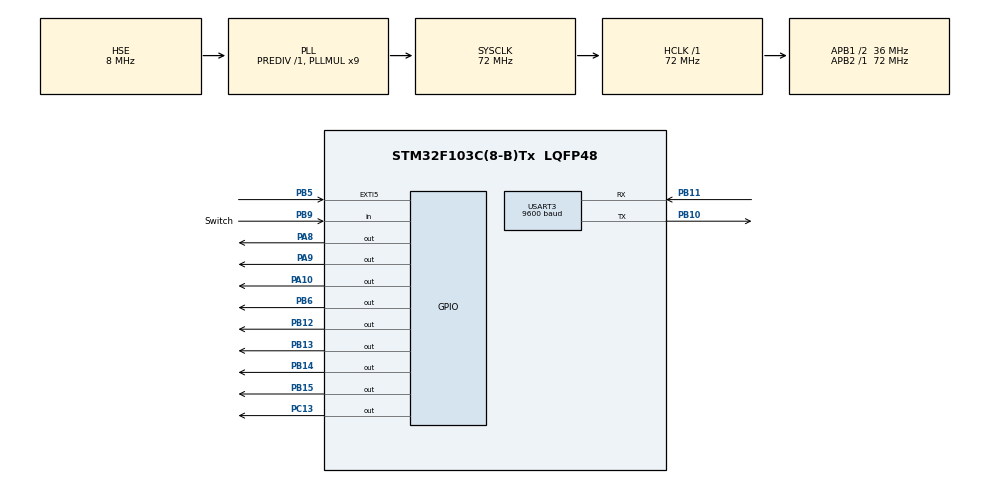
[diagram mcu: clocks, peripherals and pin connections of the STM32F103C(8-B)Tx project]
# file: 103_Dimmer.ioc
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FREERTOS.Tasks01=defaultTask,0,128,StartDefaultTask,Default,NULL,Dynamic,NULL,NULL
Mcu.Family=STM32F1
Mcu.Name=STM32F103C(8-B)Tx
Mcu.Package=LQFP48
NVIC.PriorityGroup=NVIC_PRIORITYGROUP_4
NVIC.TIM2_IRQn=true\:5\:0\:false\:false\:true\:true\:true\:true\:true
PA10.Signal=GPIO_Output
PA13.Mode=Serial_Wire
PA13.Signal=SYS_JTMS-SWDIO
PA14.Mode=Serial_Wire
PA14.Signal=SYS_JTCK-SWCLK
PA8.Signal=GPIO_Output
PA9.Signal=GPIO_Output
PB10.Mode=Asynchronous
PB10.Signal=USART3_TX
PB11.Mode=Asynchronous
PB11.Signal=USART3_RX
PB12.Signal=GPIO_Output
PB13.Signal=GPIO_Output
PB14.Signal=GPIO_Output
PB15.Signal=GPIO_Output
PB5.Signal=GPXTI5
PB6.Signal=GPIO_Output
PB9.GPIO_Label=Switch
PB9.Signal=GPIO_Input
PC13-TAMPER-RTC.Signal=GPIO_Output
PD0-OSC_IN.Mode=HSE-External-Oscillator
PD0-OSC_IN.Signal=RCC_OSC_IN
PD1-OSC_OUT.Mode=HSE-External-Oscillator
PD1-OSC_OUT.Signal=RCC_OSC_OUT
ProjectManager.HeapSize=0x200
ProjectManager.StackSize=0x400
ProjectManager.TargetToolchain=STM32CubeIDE
RCC.AHBFreq_Value=72000000
RCC.APB1CLKDivider=RCC_HCLK_DIV2
RCC.APB1Freq_Value=36000000
RCC.APB1TimFreq_Value=72000000
RCC.APB2Freq_Value=72000000
RCC.APB2TimFreq_Value=72000000
RCC.HCLKFreq_Value=72000000
RCC.PLLMUL=RCC_PLL_MUL9
RCC.PLLSourceVirtual=RCC_PLLSOURCE_HSE
RCC.SYSCLKFreq_VALUE=72000000
RCC.SYSCLKSource=RCC_SYSCLKSOURCE_PLLCLK
RCC.USBFreq_Value=72000000
TIM2.Channel-Output\ Compare1\ No\ Output=TIM_CHANNEL_1
TIM2.Channel-Output\ Compare2\ No\ Output=TIM_CHANNEL_2
TIM2.Prescaler=360-1
TIM2.Pulse-Output\ Compare1\ No\ Output=1000
TIM2.Pulse-Output\ Compare2\ No\ Output=1100
USART3.BaudRate=9600
USART3.VirtualMode=VM_ASYNC
VP_FREERTOS_VS_CMSIS_V1.Mode=CMSIS_V1
VP_TIM2_VS_ClockSourceINT.Mode=Internal
VP_TIM2_VS_no_output1.Mode=Output Compare1 No Output
VP_TIM2_VS_no_output2.Mode=Output Compare2 No Output
board=custom

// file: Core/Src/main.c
/* USER CODE BEGIN Header */
/**
  ******************************************************************************
  * @file           : main.c
  * @brief          : Main program body
  ******************************************************************************
  * @attention
  *
  * Copyright (c) 2023 STMicroelectronics.
  * All rights reserved.
  *
  * This software is licensed under terms that can be found in the LICENSE file
  * in the root directory of this software component.
  * If no LICENSE file comes with this software, it is provided AS-IS.
  *
  ******************************************************************************
  */
/* USER CODE END Header */
#include "main.h"
#include "cmsis_os.h"

/* USER CODE BEGIN Includes */
#include "stm32f1xx.h"
#include <stdio.h>
#include <string.h>
#include <stdlib.h>
#include "FreeRTOS.h"
#include "task.h"
#include "semphr.h"
/* USER CODE END Includes */

/* USER CODE BEGIN PTD */
// Pin definitions for dimmer signal and zero crossing signal

#define Dimmer_PIN GPIO_PIN_6
#define Dimmer_GPIO_Port GPIOB
#define Zero_Pin GPIO_PIN_5
#define Zero_GPIO_Port GPIOB
//#define RCC_APB2ENR_GPIOAEN  (1 << 0)

/* USER CODE END PTD */

TIM_HandleTypeDef htim2;

UART_HandleTypeDef huart3;

osThreadId defaultTaskHandle;
/* USER CODE BEGIN PV */
uint32_t Dimmer = 0;
char Flag = 0;
SemaphoreHandle_t xSemaphore1;
SemaphoreHandle_t xSemaphore2;
SemaphoreHandle_t xSemaphore3;
//GPIO_PinState pinState = GPIO_ReadInputDataBit(GPIOx, GPIO_Pin);
/* USER CODE END PV */

void SystemClock_Config(void);
static void MX_GPIO_Init(void);
static void MX_TIM2_Init(void);
static void MX_USART3_UART_Init(void);
void StartDefaultTask(void const * argument);

/* USER CODE BEGIN PFP */
/*
void dimmer_init(void);
void zc_init(void);
void setBrightnessLevel(uint16_t );
*/
void HAL_UART_Read_String(UART_HandleTypeDef *huart, char *str, uint8_t size);
void BT_RX(void *pvParameters);
void Set_Dimmer(void *pvParameters);
void Timer_CH(void *pvParameters);
/* USER CODE END PFP */

/* USER CODE BEGIN 0 */
char message_rx[20];
char message_tx[20];
/* USER CODE END 0 */

int main(void)
{
  /* USER CODE BEGIN 1 */
	//RCC->APB2ENR |= RCC_APB2ENR_GPIOAEN;
  /* USER CODE END 1 */

  /* MCU Configuration--------------------------------------------------------*/

  /* Reset of all peripherals, Initializes the Flash interface and the Systick. */
  HAL_Init();

  /* Configure the system clock */
  SystemClock_Config();

  /* Initialize all configured peripherals */
  MX_GPIO_Init();
  MX_TIM2_Init();
  MX_USART3_UART_Init();
  /* USER CODE BEGIN 2 */
  //dimmer_init();
  //zc_init();
  HAL_TIMEx_OCN_Start_IT(&htim2, HAL_TIM_ACTIVE_CHANNEL_1);
  HAL_TIMEx_OCN_Start_IT(&htim2, HAL_TIM_ACTIVE_CHANNEL_2);
  HAL_GPIO_WritePin(GPIOA, GPIO_PIN_10, 1);
  HAL_GPIO_WritePin(GPIOA, GPIO_PIN_9, 0);
  HAL_GPIO_WritePin(GPIOA, GPIO_PIN_8, 1);
  HAL_GPIO_WritePin(GPIOB, GPIO_PIN_12, 1);
  HAL_GPIO_WritePin(GPIOB, GPIO_PIN_13, 1);
  HAL_GPIO_WritePin(GPIOB, GPIO_PIN_14, 0);
  HAL_GPIO_WritePin(GPIOB, GPIO_PIN_15, 1);
  /* USER CODE END 2 */

  /* USER CODE BEGIN RTOS_SEMAPHORES */
  /* add semaphores, ... */
  xSemaphore1 = xSemaphoreCreateBinary();
  xSemaphore2 = xSemaphoreCreateBinary();
  xSemaphore3 = xSemaphoreCreateBinary();
  xSemaphoreGive(xSemaphore1);
  /* USER CODE END RTOS_SEMAPHORES */

  /* Create the thread(s) */
  /* definition and creation of defaultTask */
  osThreadDef(defaultTask, StartDefaultTask, osPriorityNormal, 0, 128);
  defaultTaskHandle = osThreadCreate(osThread(defaultTask), NULL);

  /* USER CODE BEGIN RTOS_THREADS */
  /* add threads, ... */
  xTaskCreate((void *)BT_RX, "BT_RX", configMINIMAL_STACK_SIZE, NULL, tskIDLE_PRIORITY + 1, NULL);
  xTaskCreate((void *)Set_Dimmer, "Set_Dimmer", configMINIMAL_STACK_SIZE, NULL, tskIDLE_PRIORITY + 1, NULL);
  xTaskCreate((void *)Timer_CH, "Timer_CH", configMINIMAL_STACK_SIZE, NULL, tskIDLE_PRIORITY + 1, NULL);
  vTaskStartScheduler();
  /* USER CODE END RTOS_THREADS */

  /* Start scheduler */
  osKernelStart();
  /* We should never get here as control is now taken by the scheduler */
  /* Infinite loop */
  while (1)
  {

  }
}

void SystemClock_Config(void)
{
  RCC_OscInitTypeDef RCC_OscInitStruct = {0};
  RCC_ClkInitTypeDef RCC_ClkInitStruct = {0};

  /** Initializes the RCC Oscillators according to the specified parameters
  * in the RCC_OscInitTypeDef structure.
  */
  RCC_OscInitStruct.OscillatorType = RCC_OSCILLATORTYPE_HSE;
  RCC_OscInitStruct.HSEState = RCC_HSE_ON;
  RCC_OscInitStruct.HSEPredivValue = RCC_HSE_PREDIV_DIV1;
  RCC_OscInitStruct.HSIState = RCC_HSI_ON;
  RCC_OscInitStruct.PLL.PLLState = RCC_PLL_ON;
  RCC_OscInitStruct.PLL.PLLSource = RCC_PLLSOURCE_HSE;
  RCC_OscInitStruct.PLL.PLLMUL = RCC_PLL_MUL9;
  if (HAL_RCC_OscConfig(&RCC_OscInitStruct) != HAL_OK)
  {
    Error_Handler();
  }

  /** Initializes the CPU, AHB and APB buses clocks
  */
  RCC_ClkInitStruct.ClockType = RCC_CLOCKTYPE_HCLK|RCC_CLOCKTYPE_SYSCLK
                              |RCC_CLOCKTYPE_PCLK1|RCC_CLOCKTYPE_PCLK2;
  RCC_ClkInitStruct.SYSCLKSource = RCC_SYSCLKSOURCE_PLLCLK;
  RCC_ClkInitStruct.AHBCLKDivider = RCC_SYSCLK_DIV1;
  RCC_ClkInitStruct.APB1CLKDivider = RCC_HCLK_DIV2;
  RCC_ClkInitStruct.APB2CLKDivider = RCC_HCLK_DIV1;

  if (HAL_RCC_ClockConfig(&RCC_ClkInitStruct, FLASH_LATENCY_2) != HAL_OK)
  {
    Error_Handler();
  }
}

static void MX_TIM2_Init(void)
{

  TIM_ClockConfigTypeDef sClockSourceConfig = {0};
  TIM_MasterConfigTypeDef sMasterConfig = {0};
  TIM_OC_InitTypeDef sConfigOC = {0};

  htim2.Instance = TIM2;
  htim2.Init.Prescaler = 360-1;
  htim2.Init.CounterMode = TIM_COUNTERMODE_UP;
  htim2.Init.Period = 65535;
  htim2.Init.ClockDivision = TIM_CLOCKDIVISION_DIV1;
  htim2.Init.AutoReloadPreload = TIM_AUTORELOAD_PRELOAD_DISABLE;
  if (HAL_TIM_Base_Init(&htim2) != HAL_OK)
  {
    Error_Handler();
  }
  sClockSourceConfig.ClockSource = TIM_CLOCKSOURCE_INTERNAL;
  if (HAL_TIM_ConfigClockSource(&htim2, &sClockSourceConfig) != HAL_OK)
  {
    Error_Handler();
  }
  if (HAL_TIM_OC_Init(&htim2) != HAL_OK)
  {
    Error_Handler();
  }
  sMasterConfig.MasterOutputTrigger = TIM_TRGO_RESET;
  sMasterConfig.MasterSlaveMode = TIM_MASTERSLAVEMODE_DISABLE;
  if (HAL_TIMEx_MasterConfigSynchronization(&htim2, &sMasterConfig) != HAL_OK)
  {
    Error_Handler();
  }
  sConfigOC.OCMode = TIM_OCMODE_TIMING;
  sConfigOC.Pulse = 1000;
  sConfigOC.OCPolarity = TIM_OCPOLARITY_HIGH;
  sConfigOC.OCFastMode = TIM_OCFAST_DISABLE;
  if (HAL_TIM_OC_ConfigChannel(&htim2, &sConfigOC, TIM_CHANNEL_1) != HAL_OK)
  {
    Error_Handler();
  }
  sConfigOC.Pulse = 1100;
  if (HAL_TIM_OC_ConfigChannel(&htim2, &sConfigOC, TIM_CHANNEL_2) != HAL_OK)
  {
    Error_Handler();
  }

}

static void MX_USART3_UART_Init(void)
{

  huart3.Instance = USART3;
  huart3.Init.BaudRate = 9600;
  huart3.Init.WordLength = UART_WORDLENGTH_8B;
  huart3.Init.StopBits = UART_STOPBITS_1;
  huart3.Init.Parity = UART_PARITY_NONE;
  huart3.Init.Mode = UART_MODE_TX_RX;
  huart3.Init.HwFlowCtl = UART_HWCONTROL_NONE;
  huart3.Init.OverSampling = UART_OVERSAMPLING_16;
  if (HAL_UART_Init(&huart3) != HAL_OK)
  {
    Error_Handler();
  }

}

static void MX_GPIO_Init(void)
{
  GPIO_InitTypeDef GPIO_InitStruct = {0};

  /* GPIO Ports Clock Enable */
  __HAL_RCC_GPIOC_CLK_ENABLE();
  __HAL_RCC_GPIOD_CLK_ENABLE();
  __HAL_RCC_GPIOB_CLK_ENABLE();
  __HAL_RCC_GPIOA_CLK_ENABLE();

  /*Configure GPIO pin Output Level */
  HAL_GPIO_WritePin(GPIOC, GPIO_PIN_13, GPIO_PIN_RESET);

  /*Configure GPIO pin Output Level */
  HAL_GPIO_WritePin(GPIOB, GPIO_PIN_12|GPIO_PIN_13|GPIO_PIN_14|GPIO_PIN_15
                          |GPIO_PIN_6, GPIO_PIN_RESET);

  /*Configure GPIO pin Output Level */
  HAL_GPIO_WritePin(GPIOA, GPIO_PIN_8|GPIO_PIN_9|GPIO_PIN_10, GPIO_PIN_RESET);

  /*Configure GPIO pin : PC13 */
  GPIO_InitStruct.Pin = GPIO_PIN_13;
  GPIO_InitStruct.Mode = GPIO_MODE_OUTPUT_PP;
  GPIO_InitStruct.Pull = GPIO_NOPULL;
  GPIO_InitStruct.Speed = GPIO_SPEED_FREQ_LOW;
  HAL_GPIO_Init(GPIOC, &GPIO_InitStruct);

  /*Configure GPIO pins : PB12 PB13 PB14 PB15
                           PB6 */
  GPIO_InitStruct.Pin = GPIO_PIN_12|GPIO_PIN_13|GPIO_PIN_14|GPIO_PIN_15
                          |GPIO_PIN_6;
  GPIO_InitStruct.Mode = GPIO_MODE_OUTPUT_PP;
  GPIO_InitStruct.Pull = GPIO_NOPULL;
  GPIO_InitStruct.Speed = GPIO_SPEED_FREQ_LOW;
  HAL_GPIO_Init(GPIOB, &GPIO_InitStruct);

  /*Configure GPIO pins : PA8 PA9 PA10 */
  GPIO_InitStruct.Pin = GPIO_PIN_8|GPIO_PIN_9|GPIO_PIN_10;
  GPIO_InitStruct.Mode = GPIO_MODE_OUTPUT_PP;
  GPIO_InitStruct.Pull = GPIO_NOPULL;
  GPIO_InitStruct.Speed = GPIO_SPEED_FREQ_LOW;
  HAL_GPIO_Init(GPIOA, &GPIO_InitStruct);

  /*Configure GPIO pin : PB5 */
  GPIO_InitStruct.Pin = GPIO_PIN_5;
  GPIO_InitStruct.Mode = GPIO_MODE_IT_RISING;
  GPIO_InitStruct.Pull = GPIO_NOPULL;
  HAL_GPIO_Init(GPIOB, &GPIO_InitStruct);

  /*Configure GPIO pin : Switch_Pin */
  GPIO_InitStruct.Pin = Switch_Pin;
  GPIO_InitStruct.Mode = GPIO_MODE_INPUT;
  GPIO_InitStruct.Pull = GPIO_NOPULL;
  HAL_GPIO_Init(Switch_GPIO_Port, &GPIO_InitStruct);

}

/* USER CODE BEGIN 4 */
void BT_RX(void *pvParameters) {
  while (1) {
	xSemaphoreTake(xSemaphore1, portMAX_DELAY);
	HAL_UART_Read_String(&huart3, message_rx, 20);
	sprintf(message_tx,"dimmer_R\r\n");
	HAL_UART_Transmit(&huart3, (uint8_t*)message_tx,strlen(message_tx), HAL_MAX_DELAY);
    xSemaphoreGive(xSemaphore2);
  }
}

// Tarea 2
void Set_Dimmer(void *pvParameters) {
  while (1) {
    xSemaphoreTake(xSemaphore2, portMAX_DELAY);
	Dimmer = message_rx[0];
	Dimmer = atoi(message_rx);
    xSemaphoreGive(xSemaphore3);
  }
}

// Tarea 3
void Timer_CH(void *pvParameters) {
  while (1) {
    xSemaphoreTake(xSemaphore3, portMAX_DELAY);
    for(Dimmer = 0; Dimmer < 2000; Dimmer +=10){
    		  TIM2->CCR1 = 2000 - (Dimmer*10);
    		  TIM2->CCR3 = TIM2->CCR1 +200;
    }
    vTaskDelay(1000);
    xSemaphoreGive(xSemaphore1);
  }
}
void HAL_GPIO_EXTI_Callback(uint16_t GPIO_Pin){
	if(GPIO_Pin == Zero_Pin){
		if(HAL_GPIO_ReadPin(Zero_GPIO_Port, Zero_Pin) == 1){
			if(Flag == 0){
				TIM2->CNT = 0;
				Flag = 1;
			}
		}
		else{
			Flag = 0;
		}
	}
}
void HAL_TIM_OC_DelayElapsedCallback(TIM_HandleTypeDef *htim){
	if (htim == &htim2 && htim->Channel == HAL_TIM_ACTIVE_CHANNEL_1){
		HAL_GPIO_WritePin(Dimmer_GPIO_Port, Dimmer_PIN, SET);
	}
}

void HAL_UART_Read_String(UART_HandleTypeDef *huart, char *str, uint8_t size)
{
	char caracter[1];
	uint8_t cont_rx = 0;
	do
	{
		HAL_UART_Receive(huart, (uint8_t*)caracter, 1, HAL_MAX_DELAY);
		str[cont_rx++] = (char)caracter[0];
		if(cont_rx >= size) break;
	}while(caracter[0] != '\n');
	str[cont_rx-2] = '\0';
	cont_rx = 0;
}
/* USER CODE END 4 */

void StartDefaultTask(void const * argument)
{
  for(;;)
  {
    osDelay(1);
  }
}

void Error_Handler(void)
{
  __disable_irq();
  while (1)
  {
  }
}
